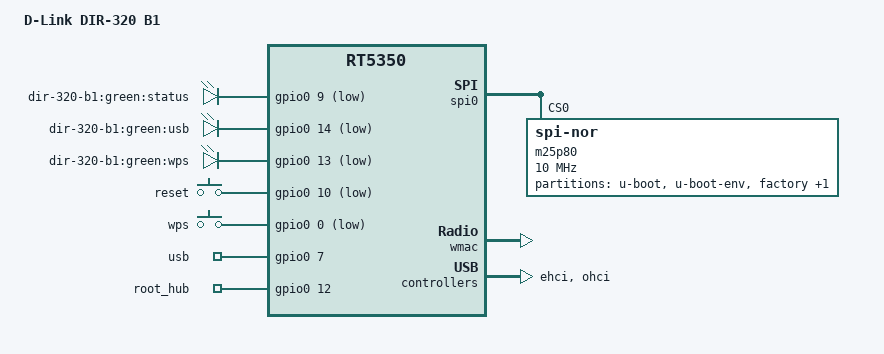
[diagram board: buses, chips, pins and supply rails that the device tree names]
/dts-v1/;

#include "rt5350.dtsi"

/ {
	compatible = "DIR-320-B1", "ralink,rt5350-soc";
	model = "D-Link DIR-320 B1";

	gpio-leds {
		compatible = "gpio-leds";

		status {
			label = "dir-320-b1:green:status";
			gpios = <&gpio0 9 1>;
		};

		usb {
			label = "dir-320-b1:green:usb";
			gpios = <&gpio0 14 1>;
		};

		wps {
			label = "dir-320-b1:green:wps";
			gpios = <&gpio0 13 1>;
		};
	};

	gpio-keys-polled {
		compatible = "gpio-keys-polled";
		#address-cells = <1>;
		#size-cells = <0>;
		poll-interval = <20>;

		reset {
			label = "reset";
			gpios = <&gpio0 10 1>;
			linux,code = <0x198>;
		};

		wps {
			label = "wps";
			gpios = <&gpio0 0 1>;
			linux,code = <0x211>;
		};
	};

	gpio_export {
		compatible = "gpio-export";
		#size-cells = <0>;

		usb {
			gpio-export,name = "usb";
			gpio-export,output = <1>;
			gpios = <&gpio0 7 0>;
		};

		root_hub {
			gpio-export,name = "root_hub";
			gpio-export,output = <1>;
			gpios = <&gpio0 12 0>;
		};
	};
};

&spi0 {
	status = "okay";

	m25p80@0 {
		#address-cells = <1>;
		#size-cells = <1>;
		compatible = "jedec,spi-nor";
		reg = <0>;
		linux,modalias = "m25p80", "s25fl064k";
		spi-max-frequency = <10000000>;

		partition@0 {
			label = "u-boot";
			reg = <0x0 0x30000>;
			read-only;
		};

		partition@30000 {
			label = "u-boot-env";
			reg = <0x30000 0x10000>;
			read-only;
		};

		factory: partition@40000 {
			label = "factory";
			reg = <0x40000 0x10000>;
			read-only;
		};

		partition@50000 {
			label = "firmware";
			reg = <0x50000 0x7b0000>;
		};
	};
};

&pinctrl {
	state_default: pinctrl0 {
		gpio {
			ralink,group = "i2c", "jtag", "rgmii", "mdio", "uartf";
			ralink,function = "gpio";
		};
	};
};

&ethernet {
	mtd-mac-address = <&factory 0x4>;
};

&esw {
	mediatek,portmap = <0x2f>;
	mediatek,led_polarity = <0x17>;
};

&wmac {
	ralink,mtd-eeprom = <&factory 0>;
};

&ehci {
	status = "okay";
};

&ohci {
	status = "okay";
};
